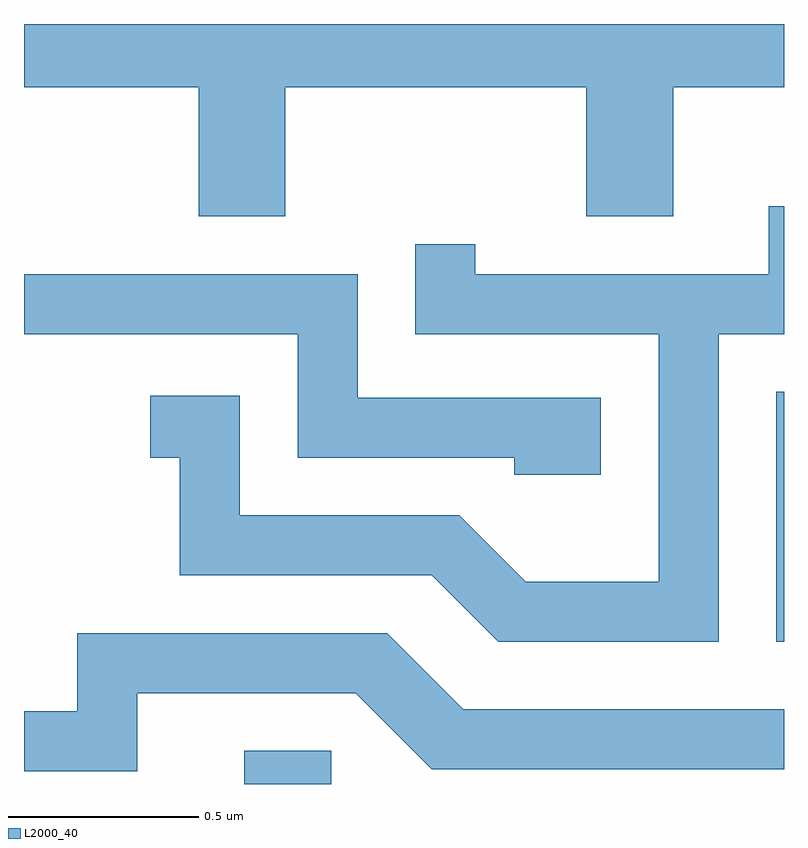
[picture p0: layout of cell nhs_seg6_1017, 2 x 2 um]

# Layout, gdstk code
import gdstk
lib = gdstk.Library(unit=1e-6, precision=1e-09)
def R(c, l, rs):  # rectangles x0, y0, x1, y1
    for r in rs: c.add(gdstk.rectangle(r[:2], r[2:], *l))
def P(c, l, *ps):  # polygons
    for p in ps: c.add(gdstk.Polygon(p, *l))
L2000_40 = (2000, 40)

nhs_seg6_1017 = lib.new_cell('nhs_seg6_1017')
R(nhs_seg6_1017, L2000_40, [(193.191,1588.162,193.419,1588.249), (194.591,1588.536,194.611,1589.194)])
P(nhs_seg6_1017, L2000_40, [(193.299,1589.996),(194.091,1589.996),(194.091,1589.656),(194.319,1589.656),(194.319,1589.996),(194.611,1589.996),(194.611,1590.162),(192.611,1590.162),(192.611,1589.996),(193.071,1589.996),(193.071,1589.656),(193.299,1589.656)],
  [(194.439,1589.346),(194.611,1589.346),(194.611,1589.683),(194.571,1589.683),(194.571,1589.504),(193.799,1589.504),(193.799,1589.583),(193.641,1589.583),(193.641,1589.346),(194.281,1589.346),(194.281,1588.694),(193.932,1588.694),(193.757,1588.869),(193.179,1588.869),(193.179,1589.184),(192.943,1589.184),(192.943,1589.021),(193.021,1589.021),(193.021,1588.711),(193.684,1588.711),(193.859,1588.536),(194.439,1588.536)],
  [(194.129,1589.179),(193.489,1589.179),(193.489,1589.504),(192.611,1589.504),(192.611,1589.346),(193.331,1589.346),(193.331,1589.021),(193.901,1589.021),(193.901,1588.976),(194.129,1588.976)],
  [(192.909,1588.401),(193.484,1588.401),(193.684,1588.201),(194.611,1588.201),(194.611,1588.359),(193.767,1588.359),(193.567,1588.559),(192.751,1588.559),(192.751,1588.354),(192.611,1588.354),(192.611,1588.196),(192.909,1588.196)])

lib.write_gds('nhs_seg6_1017.gds')
